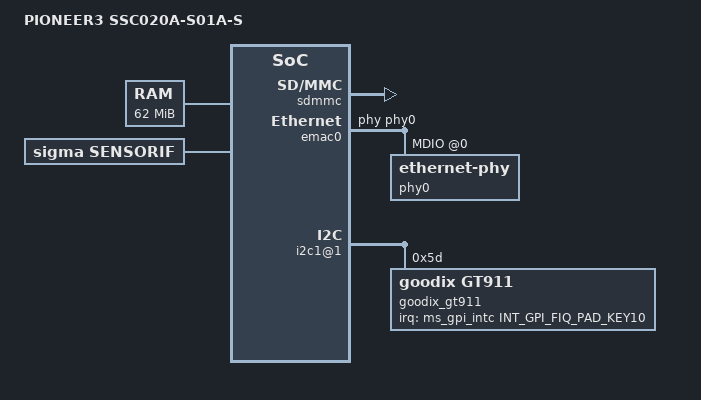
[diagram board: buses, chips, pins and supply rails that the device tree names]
/*
* pioneer3-ssc01xa.dts- Sigmastar
*
* Copyright (c) [2019~2020] SigmaStar Technology.
*
*
* This software is licensed under the terms of the GNU General Public
* License version 2, as published by the Free Software Foundation, and
* may be copied, distributed, and modified under those terms.
*
* This program is distributed in the hope that it will be useful,
* but WITHOUT ANY WARRANTY; without even the implied warranty of
* MERCHANTABILITY or FITNESS FOR A PARTICULAR PURPOSE.  See the
* GNU General Public License version 2 for more details.
*
*/

/dts-v1/;
#include "pioneer3.dtsi"

#include "pioneer3-ssc020a-s01a-demo-camera-padmux.dtsi"

/ {
    model = "PIONEER3 SSC020A-S01A-S";
    compatible = "sstar,pioneer3";

    /* memory setting will be replaced with LX_MEM*/
    memory {
        reg = <0x20000000 0x03E00000>;
    };
	/* this cmdline will be replaced with uboot bootargs*/
    chosen {
        bootargs = "console=ttyS0,115200n8r androidboot.console=ttyS0 root=/dev/mtdblock2 init=/linuxrc cma=16m earlyprintk";
    };

    /*!!IMPORTANT!! The reserved memory must be 1MB aligned*/
    reserved-memory {
        #address-cells = <1>;
        #size-cells = <1>;
        ranges;

        /*cma0 {
            compatible = "shared-dma-pool";
            size = <0x400000>;
            reusable;
            alignment = <0x1000>;
            linux,cma-default;
        };*/
    };
    soc {
            sdmmc {
                compatible = "sstar,sdmmc";
                //QFN128-CFG
                slot-pad-orders = <0>,<0>,<0>;
                slot-cdzs-gpios = <PAD_PM_SD_CDZ>,<0>,<0>;
                slot-pwr-gpios = <PAD_SD_GPIO0>,<0>,<0>;
                slot-removable = <1>,<1>,<1>;
                slot-intcdzs = <0>,<1>,<1>;
                slot-fakecdzs = <1>,<0>,<0>;
                slot-en-pwr-high-valid = <0>,<0>,<0>; //gpio output (1/0), power on.
                slot-pwr-on-delay = <100>,<1>,<1>;
                slot-sdio-use = <1>,<0>,<0>;
            };
			
			sensorif: sensorif {
				compatible = "sigma,sensorif";
				sensorif_grp0_i2c = <0>;
				sensorif_grp1_i2c = <0>;
			};
		
            emac0: emac0 {
                compatible = "sstar-emac";
                reg = <0x1F2A2000 0x800>, <0x1F343C00 0x600>, <0x1F006200 0x600>; //for internal phy
                pad = <0x1F2079B8 0x000F 0x0000>;  //for internal phy
                status = "ok";
                phy-handle = <&phy0>;
                mdio-bus {
                    phy0: ethernet-phy@0 {
                        phy-mode = "mii";
                    };
                };
            };

            //for emac0 rmii
/*
            emac0: emac0 {
                compatible = "sstar-emac";
                reg = <0x1F2A2000 0x800>, <0x1F343C00 0x600>, <0x00000000 0x600>; //for external phy
                pad = <0x1F2079B8 0x000F 0x000B>;  //for external phy
                status = "ok";
                phy-mode = "rmii";
                fixed-link = <0 1 100 0 0>;
            };
*/

	        i2c1@1{
	            compatible = "sstar,i2c";
	            reg = <0x1F223200 0x200>,<0x1F207800 0x200>,<0x1F207000 0x200>;
	                #address-cells = <1>;
	                #size-cells = <0>;
	            clocks = <&CLK_miic1>;
	            i2c-group = <1>;
	            /*
	             * padmux: 1 -> PAD_I2C1_SCL, PAD_I2C1_SDA
	             *         2 -> PAD_PWM0, PAD_PWM1
	             *         3 -> PAD_SR_IO00, PAD_SR_IO01
	             *         8 -> PAD_KEY8 PAD_KEY9 
	            */
	            i2c-padmux = <8>;
	            status = "ok";
	            goodix_gt911@5D{
	                compatible = "goodix,gt911";
	                reg = <0x5D>;
	                goodix_rst = <PAD_KEY11>;
	                goodix_int = <PAD_KEY10>;
	                interrupts-extended = <&ms_gpi_intc INT_GPI_FIQ_PAD_KEY10>;
	                interrupt-names = "goodix_int";
	            };
	        };
        };

};
